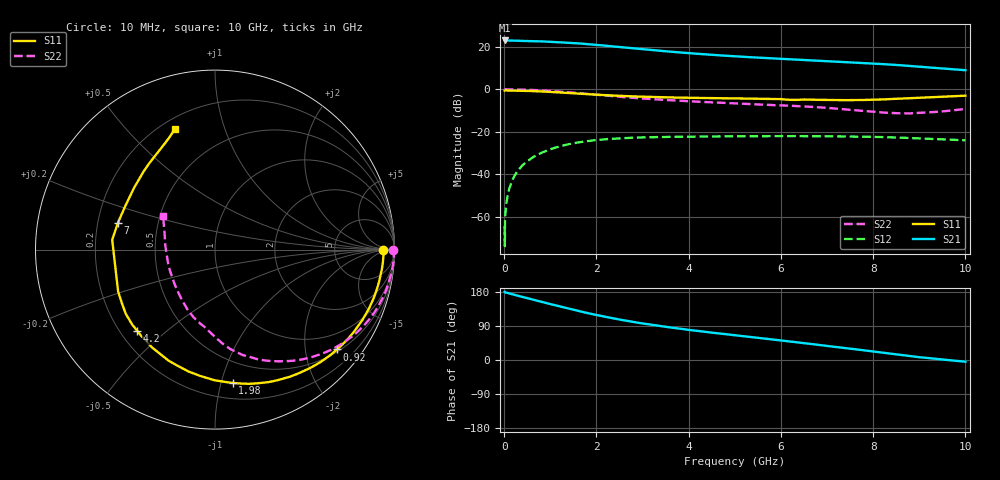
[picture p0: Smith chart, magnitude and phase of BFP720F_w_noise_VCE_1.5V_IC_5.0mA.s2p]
! Infineon Technologies  Discrete & RF Semiconductors
! BFP720F
! VCE =  1.5 V,  IC =  5.0 mA
! Common Emitter S-Parameters:  Jan 2016
# GHz  S  MA  R  50
!  f  S11  S21  S12  S22
! GHz  MAG  ANG  MAG  ANG  MAG  ANG  MAG  ANG
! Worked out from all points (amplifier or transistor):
!   233 points, 10 MHz to 10 GHz, reference 50 ohm
!   highest |S21| = 23.0 dB at 10 MHz (marker M1)
!   |S21| within 3 dB of that: start of sweep to 2.439 GHz
!   unconditionally stable (mu >= 1): 8.064 GHz to end of sweep
!   at 200 MHz: K = 0.03, MSG = 32.4 dB, |S12| = -41.8 dB
!   at 1.74 GHz: K = 0.21, MSG = 23.0 dB, |S12| = -24.6 dB
!   at 10 GHz: K = 1.25, MAG = 13.5 dB, |S12| = -24.0 dB
!   lowest NFmin = 0.41 dB at 450 MHz
!   S11 on the Smith chart (normalised r, x): 10 MHz: 29, -1; 920 MHz: 0.55, -2.70; 1.98 GHz: 0.32, -1.09; 4.2 GHz: 0.27, -0.40; 7 GHz: 0.29, +0.12; 10 GHz: 0.26, +0.69
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0.01  0.9337 -0.1  14.2 179.6  0.0006 -63.0  0.9895 0.0
0.015  0.9371 -0.4  14.09 178.7  0.0002 49.9  0.9946 -0.6
0.02  0.9405 -0.7  13.99 177.8  0.0009 87.8  0.9999 -1.2
0.05  0.9391 -2.2  14.16 177.9  0.0021 88.0  0.997 -1.5
0.22  0.9331 -9.3  14.03 172.0  0.0089 84.2  0.9932 -6.6
0.6  0.9102 -25.5  13.66 160.1  0.024 73.9  0.9658 -18.1
0.92  0.8785 -39.3  13.33 150.1  0.0358 65.1  0.9286 -27.5
1.3  0.8343 -55.3  12.66 138.6  0.048 55.0  0.869 -38.4
1.68  0.7851 -71.2  11.96 127.4  0.0576 45.7  0.8 -48.7
1.98  0.7494 -82.5  11.22 119.2  0.0634 39.0  0.7473 -56.1
2.2  0.7283 -90.1  10.67 113.7  0.0666 34.5  0.7113 -61.1
2.6  0.6948 -102.3  9.684 104.5  0.0708 27.2  0.6535 -69.0
3  0.6706 -112.7  8.822 96.4  0.0735 21.5  0.6074 -75.3
3.4  0.651 -120.7  8.062 89.4  0.075 16.6  0.5699 -79.9
4.2  0.6267 -133.8  6.867 76.7  0.077 8.6  0.5109 -87.0
5.1  0.6093 -145.4  5.919 64.0  0.0783 1.3  0.4598 -93.7
6  0.5884 -156.5  5.239 51.6  0.0789 -5.2  0.4198 -101.4
6.8  0.5649 168.8  4.743 40.2  0.0784 -11.0  0.3772 -111.9
7  0.5613 164.8  4.633 37.1  0.0782 -12.4  0.3659 -115.0
8.4  0.5901 132.2  3.818 16.3  0.0737 -22.2  0.2767 -155.5
9  0.6305 119.9  3.415 7.4  0.0694 -25.5  0.2781 175.1
10  0.7074 108.4  2.822 -4.5  0.0628 -28.1  0.344 147.3
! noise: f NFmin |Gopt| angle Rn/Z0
0.45  0.41  0.49  4  0.15
0.9  0.44  0.48  9  0.17
1.8  0.5  0.44  20  0.17
2.4  0.54  0.41  29  0.14
5.5  0.72  0.37  68  0.1
10  1  0.25  -109  0.15
